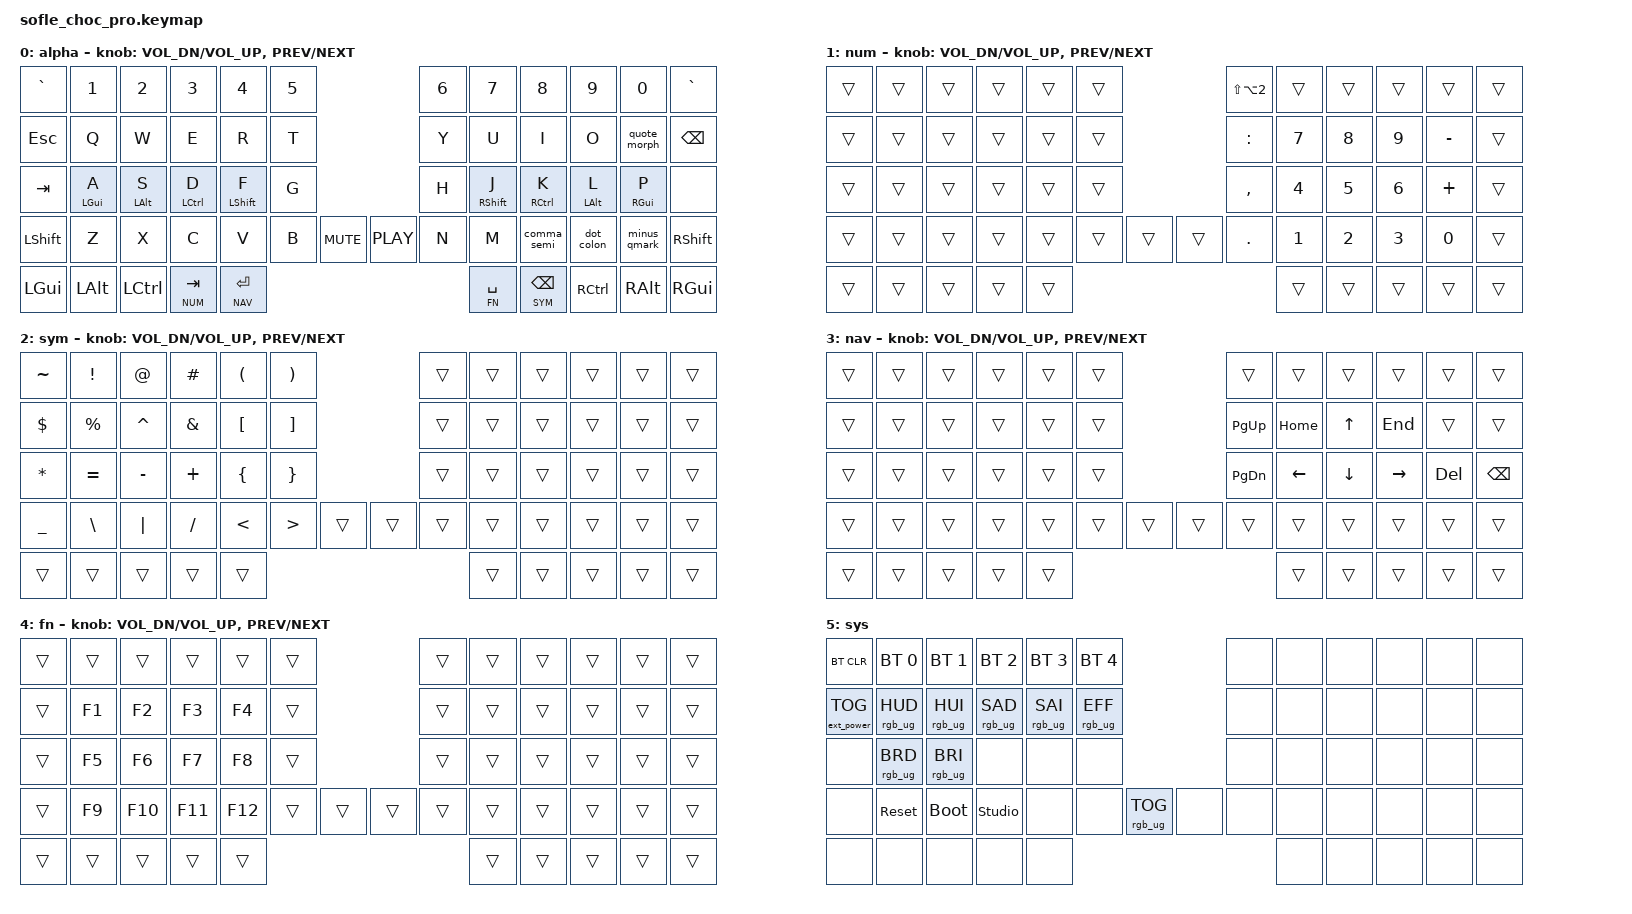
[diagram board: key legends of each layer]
/*
* Copyright (c) 2020 The ZMK Contributors
*
* SPDX-License-Identifier: MIT
*/

#include <behaviors.dtsi>
#include <dt-bindings/zmk/keys.h>
#include <dt-bindings/zmk/bt.h>
#include <dt-bindings/zmk/rgb.h>
#include <dt-bindings/zmk/ext_power.h>
#include <dt-bindings/zmk/modifiers.h>

#define ALPHA 0
#define NUM 1
#define SYM 2
#define NAV 3
#define FN 4
#define SYS 5

/ {

  behaviors {
    // Home row mods, left hand: hold-trigger-key-positions lists the right-hand
    // and right-thumb key positions so a hold only fires on a cross-hand combo,
    // not on same-hand rolls like "as" or "fr".
    hml: homerow_mods_left {
      compatible = "zmk,behavior-hold-tap";
      #binding-cells = <2>;
      tapping-term-ms = <280>;
      quick-tap-ms = <175>;
      flavor = "balanced";
      bindings = <&kp>, <&kp>;
      hold-trigger-key-positions = <6 7 8 9 10 11 18 19 20 21 22 23 30 31 32 33 34 35 44 45 46 47 48 49 55 56 57 58 59>;
      hold-trigger-on-release;
    };

    // Home row mods, right hand: mirror of hml, restricted to left-hand/left-thumb positions.
    hmr: homerow_mods_right {
      compatible = "zmk,behavior-hold-tap";
      #binding-cells = <2>;
      tapping-term-ms = <280>;
      quick-tap-ms = <175>;
      flavor = "balanced";
      bindings = <&kp>, <&kp>;
      hold-trigger-key-positions = <0 1 2 3 4 5 12 13 14 15 16 17 24 25 26 27 28 29 36 37 38 39 40 41 50 51 52 53 54>;
      hold-trigger-on-release;
    };

    // Thumb layer-taps: balanced flavor so a tap always registers as a tap unless the
    // key is genuinely held, even with fast rollover into the next keypress. Note this
    // means holding RET/SPACE/TAB/BSPC no longer auto-repeats via the OS.
    thumb_lt: thumb_layer_tap {
      compatible = "zmk,behavior-hold-tap";
      #binding-cells = <2>;
      tapping-term-ms = <200>;
      quick-tap-ms = <175>;
      flavor = "balanced";
      bindings = <&mo>, <&kp>;
    };

    // Lets comma/period's shift-tap yield semicolon/colon instead of the
    // usual </> (which already live on sym_layer), so the home-row key right
    // of L (originally MINUS, now P) doesn't need to double as semicolon.
    comma_semi: comma_semi {
      compatible = "zmk,behavior-mod-morph";
      #binding-cells = <0>;
      bindings = <&kp COMMA>, <&kp SEMI>;
      mods = <(MOD_LSFT|MOD_RSFT)>;
    };

    dot_colon: dot_colon {
      compatible = "zmk,behavior-mod-morph";
      #binding-cells = <0>;
      bindings = <&kp DOT>, <&kp COLON>;
      mods = <(MOD_LSFT|MOD_RSFT)>;
    };

    // Double quote is used more than apostrophe (string literals vs. rare
    // German/English contractions), so the unshifted tap gives " and shift
    // gives '.
    quote_morph: quote_morph {
      compatible = "zmk,behavior-mod-morph";
      #binding-cells = <0>;
      bindings = <&kp DQT>, <&kp SQT>;
      mods = <(MOD_LSFT|MOD_RSFT)>;
    };

    // Question mark is used more than underscore, so it takes over shift+-
    // (underscore moves to sym_layer instead).
    minus_qmark: minus_qmark {
      compatible = "zmk,behavior-mod-morph";
      #binding-cells = <0>;
      bindings = <&kp MINUS>, <&kp QMARK>;
      mods = <(MOD_LSFT|MOD_RSFT)>;
    };
  };

  // Activate SYS layer by pressing nav and sym together
  conditional_layers {
    compatible = "zmk,conditional-layers";
    sys_layer {
      if-layers = <SYM NAV>;
      then-layer = <SYS>;
    };
  };

  keymap {
    compatible = "zmk,keymap";

    alpha_layer {
      display-name = "alpha";
      // ------------------------------------------------------------------------------------------------------------
      // |   `   |  1  |  2  |  3   |  4   |  5   |                   |  6   |  7    |  8    |  9   |   0   |   `   |
      // |  ESC  |  Q  |  W  |  E   |  R   |  T   |                   |  Y   |  U    |  I    |  O   | "/'   | BKSPC |
      // |  TAB  | A/GUI|S/ALT|D/CTRL|F/SHFT|  G   |                   |  H   |J/SHFT|K/CTRL |L/ALT |P/GUI  |       |
      // | SHIFT |  Z  |  X  |  C   |  V   |  B   |  MUTE  |  | PLAY  |  N   |  M    | ,/;   | ./:  | -/?  | SHIFT |
      //               | GUI | ALT  | CTRL |NUM/TAB| NAV/RET | | FN/SPC  |SYM/BSPC| CTRL | ALT   | GUI  |
      bindings = <
        &kp GRAVE &kp N1 &kp N2   &kp N3   &kp N4    &kp N5                           &kp N6 &kp N7    &kp N8    &kp N9   &kp N0   &kp GRAVE
        &kp ESC   &kp Q  &kp W    &kp E    &kp R     &kp T                            &kp Y  &kp U     &kp I     &kp O    &quote_morph  &kp BSPC
        &kp TAB   &hml LGUI A &hml LALT S &hml LCTRL D &hml LSHFT F &kp G              &kp H  &hmr RSHFT J &hmr RCTRL K &hmr LALT L &hmr RGUI P &none
        &kp LSHFT &kp Z  &kp X    &kp C    &kp V     &kp B   &kp C_MUTE &kp C_PLAY    &kp N  &kp M     &comma_semi &dot_colon  &minus_qmark &kp RSHFT
        &kp LGUI &kp LALT &kp LCTRL &thumb_lt NUM TAB &thumb_lt NAV RET  &thumb_lt FN SPACE  &thumb_lt SYM BSPC  &kp RCTRL &kp RALT  &kp RGUI
      >;

      sensor-bindings = <&inc_dec_kp C_VOL_DN C_VOL_UP &inc_dec_kp C_PREV C_NEXT>;
    };

    num_layer {
      display-name = "num";
      // ------------------------------------------------------------------------------------------------------------
      // |       |     |      |      |      |      |                   |  €   |       |       |      |       |       |
      // |       |     |      |      |      |      |                   |  :   |   7   |   8   |  9   |   -   |       |
      // |       |     |      |      |      |      |                   |  ,   |   4   |   5   |  6   |   +   |       |
      // |       |     |      |      |      |      |        |  |       |  .   |   1   |   2   |  3   |   0   |       |
      //               |      |      |      |      |        |  |       |      |       |       |      |
      bindings = <
        &trans &trans &trans &trans &trans &trans                    &kp LS(LA(N2)) &trans &trans &trans &trans    &trans
        &trans &trans &trans &trans &trans &trans                    &kp COLON  &kp N7 &kp N8 &kp N9 &kp MINUS &trans
        &trans &trans &trans &trans &trans &trans                    &kp COMMA  &kp N4 &kp N5 &kp N6 &kp PLUS  &trans
        &trans &trans &trans &trans &trans &trans &trans      &trans &kp DOT    &kp N1 &kp N2 &kp N3 &kp N0    &trans
                      &trans &trans &trans &trans  &trans   &trans   &trans &trans &trans &trans
      >;

      sensor-bindings = <&inc_dec_kp C_VOL_DN C_VOL_UP &inc_dec_kp C_PREV C_NEXT>;
    };

    sym_layer {
      display-name = "sym";
      // ------------------------------------------------------------------------------------------------------------
      // |   ~   |  !  |  @  |  #   |  (   |  )   |                   |      |       |       |      |       |       |
      // |   $   |  %  |  ^  |  &   |  [   |  ]   |                   |      |       |       |      |       |       |
      // |   *   |  =  |  -  |  +   |  {   |  }   |                   |      |       |       |      |       |       |
      // |   _   |  \  |  |  |  /   |  <   |  >   |        |  |       |      |       |       |      |       |       |
      //               |     |      |      |      |        |  |       |      |       |       |      |
      bindings = <
        &kp TILDE &kp EXCL  &kp AT    &kp HASH  &kp LPAR  &kp RPAR                  &trans &trans &trans &trans &trans &trans
        &kp DLLR  &kp PRCNT &kp CARET &kp AMPS  &kp LBKT  &kp RBKT                  &trans &trans &trans &trans &trans &trans
        &kp ASTRK &kp EQUAL &kp MINUS &kp PLUS  &kp LBRC  &kp RBRC                  &trans &trans &trans &trans &trans &trans
        &kp UNDER &kp BSLH  &kp PIPE  &kp FSLH  &kp LT    &kp GT    &trans &trans   &trans &trans &trans &trans &trans &trans
                            &trans    &trans    &trans    &trans    &trans &trans   &trans &trans &trans &trans
      >;

      sensor-bindings = <&inc_dec_kp C_VOL_DN C_VOL_UP &inc_dec_kp C_PREV C_NEXT>;
    };

    nav_layer {
      display-name = "nav";
      // ------------------------------------------------------------------------------------------------------------
      // |       |     |      |      |      |      |                |      |      |       |      |       |       |
      // |       |     |      |      |      |      |                | PGUP | HOME |   ^   | END  |       |       |
      // |       |A/GUI|S/ALT |D/CTRL|F/SHFT|      |                | PGDN |   <- |   v   |  ->  |  DEL  | BKSPC |
      // |       |     |      |      |      |      |      |  |      |      |      |       |      |       |       |
      //                |      |       |       |      |      |  |      |      |      |       |      |
      bindings = <
        &trans     &trans       &trans       &trans       &trans       &trans                            &trans    &trans    &trans    &trans     &trans   &trans
        &trans     &trans       &trans       &trans       &trans       &trans                            &kp PG_UP &kp HOME  &kp UP    &kp END    &trans   &trans
        &trans     &trans       &trans       &trans       &trans       &trans                            &kp PG_DN &kp LEFT  &kp DOWN  &kp RIGHT  &kp DEL  &kp BSPC
        &trans     &trans       &trans       &trans       &trans       &trans          &trans  &trans    &trans    &trans    &trans    &trans     &trans   &trans
                                &trans       &trans       &trans       &trans          &trans  &trans    &trans    &trans    &trans    &trans
      >;

      sensor-bindings = <&inc_dec_kp C_VOL_DN C_VOL_UP &inc_dec_kp C_PREV C_NEXT>;
    };

    fn_layer {
      display-name = "fn";
      // ------------------------------------------------------------------------------------------------------------
      // |       |     |      |      |      |      |                   |      |       |       |      |       |       |
      // |       | F1  | F2   | F3   | F4   |      |                   |      |       |       |      |       |       |
      // |       | F5  | F6   | F7   | F8   |      |                   |      |       |       |      |       |       |
      // |       | F9  | F10  | F11  | F12  |      |                   |      |       |       |      |       |       |
      //               |      |      |      |      |        |  |       |      |       |       |      |
      bindings = <
        &trans    &trans   &trans   &trans   &trans   &trans                     &trans &trans    &trans    &trans   &trans   &trans
        &trans    &kp F1   &kp F2   &kp F3   &kp F4   &trans                     &trans &trans    &trans    &trans   &trans   &trans
        &trans    &kp F5   &kp F6   &kp F7   &kp F8   &trans                     &trans &trans    &trans    &trans   &trans   &trans
        &trans    &kp F9   &kp F10  &kp F11  &kp F12  &trans  &trans  &trans     &trans &trans    &trans    &trans   &trans   &trans
                            &trans   &trans   &trans   &trans  &trans  &trans     &trans &trans    &trans    &trans
      >;

      sensor-bindings = <&inc_dec_kp C_VOL_DN C_VOL_UP &inc_dec_kp C_PREV C_NEXT>;
    };

    sys_layer {
      // ----------------------------------------------------------------------------------------------------------------------------
      // | BTCLR  |  BT1    |  BT2    |   BT3   |   BT4   |   BT5   |                  |      |      |       |      |       |       |
      // | EXTPWR | RGB_HUD | RGB_HUI | RGB_SAD | RGB_SAI | RGB_EFF |                  |      |      |       |      |       |       |
      // |        | RGB_BRD | RGB_BRI |         |         |         |                  |      |      |       |      |       |       |
      // |        | SYSRST  | BOOT    | STUD    |         |         | RGB_TOG | |      |      |      |       |      |       |       |
      //                    |         |         |         |         |         | |      |      |      |       |      |
      display-name = "sys";
      bindings = <
        &bt BT_CLR        &bt BT_SEL 0    &bt BT_SEL 1    &bt BT_SEL 2    &bt BT_SEL 3    &bt BT_SEL 4                            &none &none &none &none &none &none
        &ext_power EP_TOG &rgb_ug RGB_HUD &rgb_ug RGB_HUI &rgb_ug RGB_SAD &rgb_ug RGB_SAI &rgb_ug RGB_EFF                         &none &none &none &none &none &none
        &none             &rgb_ug RGB_BRD &rgb_ug RGB_BRI &none           &none           &none                                   &none &none &none &none &none &none
        &none             &sys_reset      &bootloader     &studio_unlock  &none           &none            &rgb_ug RGB_TOG &none  &none &none &none &none &none &none
        &none           &none           &none           &none            &none           &none  &none &none &none &none
      >;
    };
  };
};
